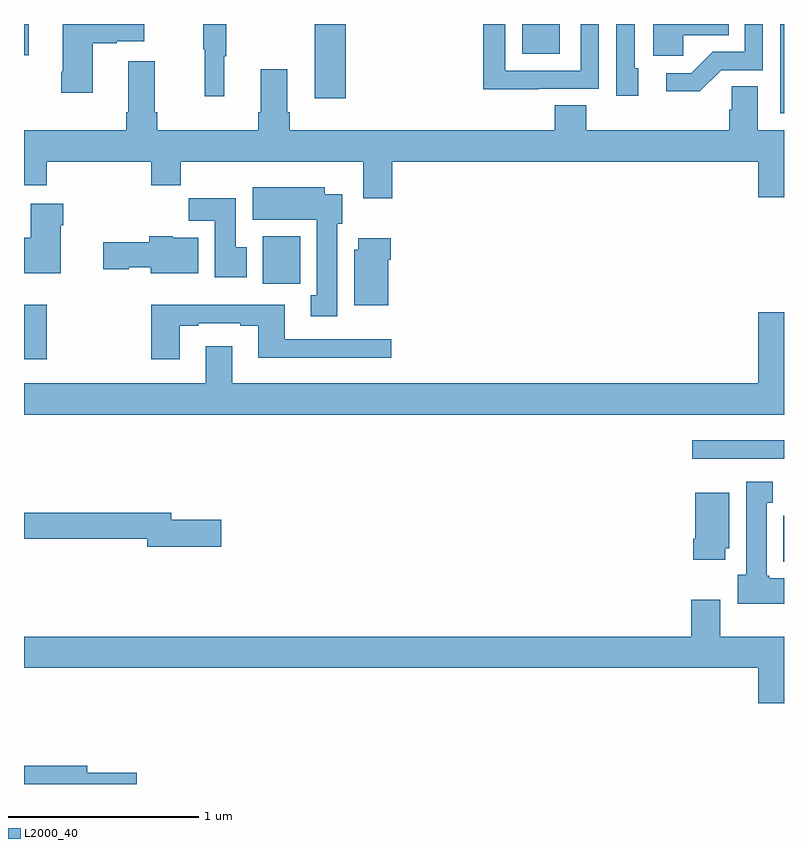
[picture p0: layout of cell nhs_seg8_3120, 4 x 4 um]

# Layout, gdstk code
import gdstk
lib = gdstk.Library(unit=1e-6, precision=1e-09)
def R(c, l, rs):  # rectangles x0, y0, x1, y1
    for r in rs: c.add(gdstk.rectangle(r[:2], r[2:], *l))
def P(c, l, *ps):  # polygons
    for p in ps: c.add(gdstk.Polygon(p, *l))
L2000_40 = (2000, 40)

nhs_seg8_3120 = lib.new_cell('nhs_seg8_3120')
R(nhs_seg8_3120, L2000_40, [(308.996,1105.07,309,1105.312), (308.517,1105.611,309,1105.708), (305,1106.136,305.12,1106.422), (306.257,1106.532,306.453,1106.782), (308.979,1107.429,309,1107.9), (306.53,1107.51,306.694,1107.9), (305,1107.735,305.024,1107.9), (307.622,1107.743,307.819,1107.9)])
P(nhs_seg8_3120, L2000_40, [(308.469,1107.842),(308.708,1107.842),(308.708,1107.9),(308.312,1107.9),(308.312,1107.734),(308.469,1107.734)],
  [(308.67,1107.657),(308.889,1107.657),(308.889,1107.9),(308.793,1107.9),(308.793,1107.753),(308.624,1107.753),(308.513,1107.642),(308.379,1107.642),(308.379,1107.545),(308.557,1107.545)],
  [(307.709,1107.558),(308.025,1107.558),(308.025,1107.9),(307.929,1107.9),(307.929,1107.654),(307.533,1107.654),(307.533,1107.9),(307.417,1107.9),(307.417,1107.557),(307.709,1107.557)],
  [(305.362,1107.799),(305.489,1107.799),(305.489,1107.809),(305.632,1107.809),(305.632,1107.9),(305.204,1107.9),(305.204,1107.649),(305.197,1107.649),(305.197,1107.537),(305.362,1107.537)],
  [(308.233,1107.666),(308.214,1107.666),(308.214,1107.9),(308.118,1107.9),(308.118,1107.522),(308.233,1107.522)],
  [(306.053,1107.731),(306.064,1107.731),(306.064,1107.9),(305.943,1107.9),(305.943,1107.768),(305.95,1107.768),(305.95,1107.519),(306.053,1107.519)],
  [(306.938,1107.176),(308.864,1107.176),(308.864,1106.988),(309,1106.988),(309,1107.34),(308.863,1107.34),(308.863,1107.572),(308.724,1107.572),(308.724,1107.449),(308.711,1107.449),(308.711,1107.34),(307.958,1107.34),(307.958,1107.473),(307.793,1107.473),(307.793,1107.34),(306.398,1107.34),(306.398,1107.436),(306.385,1107.436),(306.385,1107.661),(306.245,1107.661),(306.245,1107.436),(306.233,1107.436),(306.233,1107.34),(305.702,1107.34),(305.702,1107.436),(305.689,1107.436),(305.689,1107.703),(305.549,1107.703),(305.549,1107.436),(305.537,1107.436),(305.537,1107.34),(305,1107.34),(305,1107.052),(305.12,1107.052),(305.12,1107.176),(305.669,1107.176),(305.669,1107.052),(305.825,1107.052),(305.825,1107.176),(306.785,1107.176),(306.785,1106.982),(306.938,1106.982)],
  [(306.649,1106.85),(306.676,1106.85),(306.676,1107.004),(306.583,1107.004),(306.583,1107.04),(306.203,1107.04),(306.203,1106.87),(306.542,1106.87),(306.542,1106.473),(306.509,1106.473),(306.509,1106.361),(306.649,1106.361)],
  [(306.172,1106.724),(306.115,1106.724),(306.115,1106.982),(305.866,1106.982),(305.866,1106.864),(306.005,1106.864),(306.005,1106.568),(306.172,1106.568)],
  [(305.194,1106.84),(305.207,1106.84),(305.207,1106.953),(305.036,1106.953),(305.036,1106.776),(305,1106.776),(305,1106.588),(305.194,1106.588)],
  [(305.917,1106.776),(305.784,1106.776),(305.784,1106.782),(305.659,1106.782),(305.659,1106.751),(305.418,1106.751),(305.418,1106.609),(305.55,1106.609),(305.55,1106.621),(305.666,1106.621),(305.666,1106.588),(305.917,1106.588)],
  [(306.916,1106.66),(306.929,1106.66),(306.929,1106.773),(306.758,1106.773),(306.758,1106.712),(306.737,1106.712),(306.737,1106.42),(306.916,1106.42)],
  [(305.821,1106.313),(305.917,1106.313),(305.917,1106.325),(306.137,1106.325),(306.137,1106.313),(306.233,1106.313),(306.233,1106.144),(306.934,1106.144),(306.934,1106.241),(306.373,1106.241),(306.373,1106.422),(305.669,1106.422),(305.669,1106.136),(305.821,1106.136)],
  [(309,1106.383),(308.864,1106.383),(308.864,1106.008),(306.097,1106.008),(306.097,1106.203),(305.957,1106.203),(305.957,1106.008),(305,1106.008),(305,1105.844),(309,1105.844)],
  [(309,1104.982),(308.922,1104.982),(308.922,1104.996),(308.908,1104.996),(308.908,1105.379),(308.941,1105.379),(308.941,1105.492),(308.801,1105.492),(308.801,1105.002),(308.756,1105.002),(308.756,1104.848),(309,1104.848)],
  [(308.692,1105.14),(308.713,1105.14),(308.713,1105.432),(308.534,1105.432),(308.534,1105.192),(308.522,1105.192),(308.522,1105.08),(308.692,1105.08)],
  [(306.037,1105.292),(305.776,1105.292),(305.776,1105.328),(305,1105.328),(305,1105.192),(305.648,1105.192),(305.648,1105.15),(306.037,1105.15)],
  [(309,1104.676),(308.665,1104.676),(308.665,1104.871),(308.513,1104.871),(308.513,1104.676),(305,1104.676),(305,1104.512),(308.864,1104.512),(308.864,1104.324),(309,1104.324)],
  [(305.593,1103.96),(305.332,1103.96),(305.332,1103.996),(305,1103.996),(305,1103.9),(305.593,1103.9)])

lib.write_gds('nhs_seg8_3120.gds')
